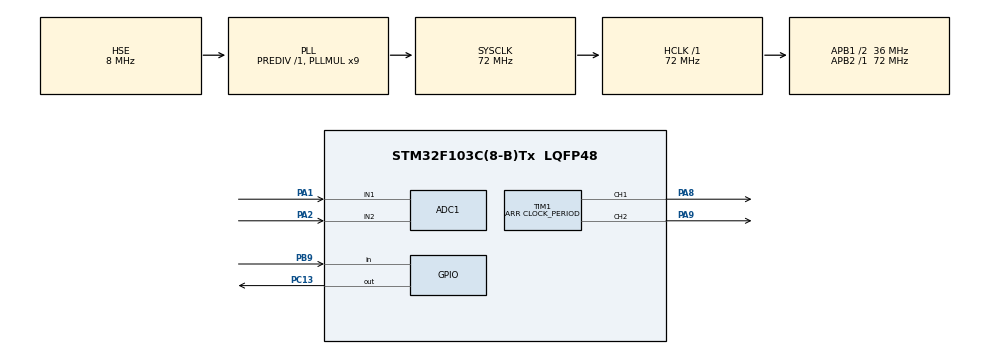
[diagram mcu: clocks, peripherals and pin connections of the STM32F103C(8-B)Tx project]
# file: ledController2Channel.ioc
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ADC1.Channel-4\#ChannelRegularConversion=ADC_CHANNEL_1
ADC1.Channel-6\#ChannelRegularConversion=ADC_CHANNEL_2
ADC1.ContinuousConvMode=ENABLE
ADC1.EnableInjectedConversion=DISABLE
ADC1.ExternalTrigConv=ADC_SOFTWARE_START
ADC1.NbrOfConversion=2
ADC1.NbrOfConversionFlag=1
ADC1.Rank-4\#ChannelRegularConversion=1
ADC1.Rank-6\#ChannelRegularConversion=2
ADC1.SamplingTime-4\#ChannelRegularConversion=ADC_SAMPLETIME_55CYCLES_5
ADC1.SamplingTime-6\#ChannelRegularConversion=ADC_SAMPLETIME_55CYCLES_5
ADC1.master=1
Dma.ADC1.0.Direction=DMA_PERIPH_TO_MEMORY
Dma.ADC1.0.Instance=DMA1_Channel1
Dma.ADC1.0.MemDataAlignment=DMA_MDATAALIGN_WORD
Dma.ADC1.0.MemInc=DMA_MINC_ENABLE
Dma.ADC1.0.Mode=DMA_CIRCULAR
Dma.ADC1.0.PeriphDataAlignment=DMA_PDATAALIGN_WORD
Dma.ADC1.0.PeriphInc=DMA_PINC_DISABLE
Dma.ADC1.0.Priority=DMA_PRIORITY_LOW
Dma.Request0=ADC1
Mcu.Family=STM32F1
Mcu.Name=STM32F103C(8-B)Tx
Mcu.Package=LQFP48
Mcu.UserConstants=CLOCK_PERIOD,1200
NVIC.DMA1_Channel1_IRQn=true\:0\:0\:false\:false\:true\:false\:true\:true
NVIC.PriorityGroup=NVIC_PRIORITYGROUP_4
PA1.Signal=SharedAnalog_PA1
PA2.Signal=ADCx_IN2
PA8.Signal=S_TIM1_CH1
PA9.Signal=S_TIM1_CH2
PB9.GPIO_PuPd=GPIO_PULLUP
PB9.Signal=GPIO_Input
PC13-TAMPER-RTC.Signal=GPIO_Output
PD0-OSC_IN.Mode=HSE-External-Oscillator
PD0-OSC_IN.Signal=RCC_OSC_IN
PD1-OSC_OUT.Mode=HSE-External-Oscillator
PD1-OSC_OUT.Signal=RCC_OSC_OUT
ProjectManager.HeapSize=0x200
ProjectManager.StackSize=0x400
ProjectManager.TargetToolchain=STM32CubeIDE
RCC.ADCPresc=RCC_ADCPCLK2_DIV8
RCC.AHBFreq_Value=72000000
RCC.APB1CLKDivider=RCC_HCLK_DIV2
RCC.APB1Freq_Value=36000000
RCC.APB1TimFreq_Value=72000000
RCC.APB2Freq_Value=72000000
RCC.APB2TimFreq_Value=72000000
RCC.HCLKFreq_Value=72000000
RCC.PLLMUL=RCC_PLL_MUL9
RCC.PLLSourceVirtual=RCC_PLLSOURCE_HSE
RCC.SYSCLKFreq_VALUE=72000000
RCC.SYSCLKSource=RCC_SYSCLKSOURCE_PLLCLK
RCC.USBFreq_Value=72000000
SH.ADCx_IN2.0=ADC1_IN2,IN2
SH.S_TIM1_CH1.0=TIM1_CH1,PWM Generation1 CH1
SH.S_TIM1_CH2.0=TIM1_CH2,PWM Generation2 CH2
SH.SharedAnalog_PA1.0=GPIO_Analog
SH.SharedAnalog_PA1.1=ADC2_IN1
SH.SharedAnalog_PA1.2=ADC1_IN1,IN1
TIM1.AutoReloadPreload=TIM_AUTORELOAD_PRELOAD_ENABLE
TIM1.Channel-PWM\ Generation1\ CH1=TIM_CHANNEL_1
TIM1.Channel-PWM\ Generation2\ CH2=TIM_CHANNEL_2
TIM1.CounterMode=TIM_COUNTERMODE_CENTERALIGNED1
TIM1.OCMode_PWM-PWM\ Generation2\ CH2=TIM_OCMODE_PWM1
TIM1.OCPolarity_1=TIM_OCPOLARITY_LOW
TIM1.Period=CLOCK_PERIOD
TIM1.Pulse-PWM\ Generation1\ CH1=0
VP_TIM1_VS_ClockSourceINT.Mode=Internal
board=custom

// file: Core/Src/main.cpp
/* USER CODE BEGIN Header */
/**
  ******************************************************************************
  * @file           : main.c
  * @brief          : Main program body
  ******************************************************************************
  * @attention
  *
  * Copyright (c) 2024 STMicroelectronics.
  * All rights reserved.
  *
  * This software is licensed under terms that can be found in the LICENSE file
  * in the root directory of this software component.
  * If no LICENSE file comes with this software, it is provided AS-IS.
  *
  ******************************************************************************
  */
/* USER CODE END Header */
#include "main.h"

ADC_HandleTypeDef hadc1;
DMA_HandleTypeDef hdma_adc1;

TIM_HandleTypeDef htim1;

void SystemClock_Config(void);
static void MX_GPIO_Init(void);
static void MX_DMA_Init(void);
static void MX_TIM1_Init(void);
static void MX_ADC1_Init(void);

/* USER CODE BEGIN 0 */
// This is usually set up by the CubeMX tool in stm32f1xx_it.c and stm32f1xx_it.h

/* USER CODE END 0 */

int main(void)
{

  /* MCU Configuration--------------------------------------------------------*/

  /* Reset of all peripherals, Initializes the Flash interface and the Systick. */
  HAL_Init();

  /* USER CODE BEGIN Init */
  //int32_t CH1_DC = 0;

  /* USER CODE END Init */

  /* Configure the system clock */
  SystemClock_Config();

  /* Initialize all configured peripherals */
  MX_GPIO_Init();
  MX_DMA_Init();
  MX_TIM1_Init();
  MX_ADC1_Init();
  /* USER CODE BEGIN 2 */
  // Start timer 1 for PWM control of boost converters
  HAL_TIM_PWM_Start(&htim1, TIM_CHANNEL_1);
  HAL_TIM_PWM_Start(&htim1, TIM_CHANNEL_2);

  // Start ADC to read 2 pots to control brightness and CCT of light engine
  uint32_t adcValues[2] = {0,0};
  HAL_ADCEx_Calibration_Start(&hadc1);
  HAL_ADC_Start_DMA(&hadc1, adcValues, 2);

  // Low Pass Filter for Flicker Removal
#define LPF_FILTER_LENGTH 32
  uint32_t channelOnePwmFilter[LPF_FILTER_LENGTH] = {0};
  uint32_t channelTwoPwmFilter[LPF_FILTER_LENGTH] = {0};
  uint32_t channelOnePwmPtr = 0;
  uint32_t channelTwoPwmPtr = 0;

  // Switch button to turn system on and off
  uint32_t btnState = 0x01;
#define DEBOUNCE_COUNT 300
  uint32_t debounce = 0;
  uint32_t debounceCount = DEBOUNCE_COUNT;

  /* USER CODE END 2 */

  /* Infinite loop */
  /* USER CODE BEGIN WHILE */

  while (1){
	  // Check for btn press
	  if (HAL_GPIO_ReadPin(GPIOB, GPIO_PIN_9) == GPIO_PIN_RESET && debounce == 0){
		  btnState ^= 0x01;
		  debounce = 0x01;
		  debounceCount--;
		  HAL_GPIO_TogglePin(GPIOC, GPIO_PIN_13);
	  }
	  // Debounce btn press
	  if (debounceCount < DEBOUNCE_COUNT){
		  debounceCount--;
	  }
	  if (debounceCount == 0){
		  debounceCount = DEBOUNCE_COUNT;
		  debounce = 0x00;
	  }

	  // Check system state
	  if (btnState == 0x01){
		  // System is on
		  // Read from ADC
		  uint32_t avgIndex = ((4095 - adcValues[0]) * 511) / 4095;
		  int32_t indexSpread = ((4095 - adcValues[1]) * 511) / 4095 - 512/2;

		  // Compute CCT mapping and get indices for ln() LUT
		  int32_t idx1 = avgIndex + indexSpread;
		  int32_t idx2 = avgIndex - indexSpread;

		  // Bound Check
		  if(idx1 < 0){
			  idx1 = 0;
			  HAL_GPIO_TogglePin(GPIOC, GPIO_PIN_13);
		  } else if(idx1 > 511){
			  idx1 = 511;
			  HAL_GPIO_TogglePin(GPIOC, GPIO_PIN_13);
		  }
		  if(idx2 < 0){
			  idx2 = 0;
			  HAL_GPIO_TogglePin(GPIOC, GPIO_PIN_13);
		  } else if(idx2 > 511){
			  idx2 = 511;
			  HAL_GPIO_TogglePin(GPIOC, GPIO_PIN_13);
		  }

		  // Update PWM Filter Bank
		  channelTwoPwmFilter[channelTwoPwmPtr++] = (uint32_t)(0.25*CLOCK_PERIOD*y[idx2]*spreadRollOff[avgIndex]);
		  channelOnePwmFilter[channelOnePwmPtr++] = CLOCK_PERIOD - (uint32_t)(0.25*CLOCK_PERIOD*y[idx1]*spreadRollOff[avgIndex]);
	  } else {
		  // System is off
		  channelTwoPwmFilter[channelTwoPwmPtr++] = 0;
		  channelOnePwmFilter[channelOnePwmPtr++] = CLOCK_PERIOD - 0;
	  }

	  // Bounds check the array indices
	  if(channelOnePwmPtr >= LPF_FILTER_LENGTH){
		  channelOnePwmPtr = 0;
	  }
	  if(channelTwoPwmPtr >= LPF_FILTER_LENGTH){
	  		  channelTwoPwmPtr = 0;
	  }

	  // Temp variables to hold the avgs
	  uint32_t channelOneAvg = 0;
	  uint32_t channelTwoAvg = 0;

	  // Compute moving avg of array
	  for(uint32_t k = 0; k < LPF_FILTER_LENGTH; k++){
		  channelOneAvg += channelOnePwmFilter[k];
		  channelTwoAvg += channelTwoPwmFilter[k];
	  }

	  // Set PWM in registers
	  TIM1->CCR1 = channelOneAvg / LPF_FILTER_LENGTH;
	  TIM1->CCR2 = channelTwoAvg / LPF_FILTER_LENGTH;

	  // Just some delay because I feel like it
	  HAL_Delay(1);

    /* USER CODE END WHILE */

  }
}

void SystemClock_Config(void)
{
  RCC_OscInitTypeDef RCC_OscInitStruct = {0};
  RCC_ClkInitTypeDef RCC_ClkInitStruct = {0};
  RCC_PeriphCLKInitTypeDef PeriphClkInit = {0};

  /** Initializes the RCC Oscillators according to the specified parameters
  * in the RCC_OscInitTypeDef structure.
  */
  RCC_OscInitStruct.OscillatorType = RCC_OSCILLATORTYPE_HSE;
  RCC_OscInitStruct.HSEState = RCC_HSE_ON;
  RCC_OscInitStruct.HSEPredivValue = RCC_HSE_PREDIV_DIV1;
  RCC_OscInitStruct.HSIState = RCC_HSI_ON;
  RCC_OscInitStruct.PLL.PLLState = RCC_PLL_ON;
  RCC_OscInitStruct.PLL.PLLSource = RCC_PLLSOURCE_HSE;
  RCC_OscInitStruct.PLL.PLLMUL = RCC_PLL_MUL9;
  if (HAL_RCC_OscConfig(&RCC_OscInitStruct) != HAL_OK)
  {
    Error_Handler();
  }

  /** Initializes the CPU, AHB and APB buses clocks
  */
  RCC_ClkInitStruct.ClockType = RCC_CLOCKTYPE_HCLK|RCC_CLOCKTYPE_SYSCLK
                              |RCC_CLOCKTYPE_PCLK1|RCC_CLOCKTYPE_PCLK2;
  RCC_ClkInitStruct.SYSCLKSource = RCC_SYSCLKSOURCE_PLLCLK;
  RCC_ClkInitStruct.AHBCLKDivider = RCC_SYSCLK_DIV1;
  RCC_ClkInitStruct.APB1CLKDivider = RCC_HCLK_DIV2;
  RCC_ClkInitStruct.APB2CLKDivider = RCC_HCLK_DIV1;

  if (HAL_RCC_ClockConfig(&RCC_ClkInitStruct, FLASH_LATENCY_2) != HAL_OK)
  {
    Error_Handler();
  }
  PeriphClkInit.PeriphClockSelection = RCC_PERIPHCLK_ADC;
  PeriphClkInit.AdcClockSelection = RCC_ADCPCLK2_DIV8;
  if (HAL_RCCEx_PeriphCLKConfig(&PeriphClkInit) != HAL_OK)
  {
    Error_Handler();
  }
}

static void MX_ADC1_Init(void)
{

  ADC_ChannelConfTypeDef sConfig = {0};

  /** Common config
  */
  hadc1.Instance = ADC1;
  hadc1.Init.ScanConvMode = ADC_SCAN_ENABLE;
  hadc1.Init.ContinuousConvMode = ENABLE;
  hadc1.Init.DiscontinuousConvMode = DISABLE;
  hadc1.Init.ExternalTrigConv = ADC_SOFTWARE_START;
  hadc1.Init.DataAlign = ADC_DATAALIGN_RIGHT;
  hadc1.Init.NbrOfConversion = 2;
  if (HAL_ADC_Init(&hadc1) != HAL_OK)
  {
    Error_Handler();
  }

  /** Configure Regular Channel
  */
  sConfig.Channel = ADC_CHANNEL_1;
  sConfig.Rank = ADC_REGULAR_RANK_1;
  sConfig.SamplingTime = ADC_SAMPLETIME_55CYCLES_5;
  if (HAL_ADC_ConfigChannel(&hadc1, &sConfig) != HAL_OK)
  {
    Error_Handler();
  }

  /** Configure Regular Channel
  */
  sConfig.Channel = ADC_CHANNEL_2;
  sConfig.Rank = ADC_REGULAR_RANK_2;
  if (HAL_ADC_ConfigChannel(&hadc1, &sConfig) != HAL_OK)
  {
    Error_Handler();
  }

}

static void MX_TIM1_Init(void)
{

  TIM_ClockConfigTypeDef sClockSourceConfig = {0};
  TIM_MasterConfigTypeDef sMasterConfig = {0};
  TIM_OC_InitTypeDef sConfigOC = {0};
  TIM_BreakDeadTimeConfigTypeDef sBreakDeadTimeConfig = {0};

  htim1.Instance = TIM1;
  htim1.Init.Prescaler = 0;
  htim1.Init.CounterMode = TIM_COUNTERMODE_CENTERALIGNED1;
  htim1.Init.Period = CLOCK_PERIOD;
  htim1.Init.ClockDivision = TIM_CLOCKDIVISION_DIV1;
  htim1.Init.RepetitionCounter = 0;
  htim1.Init.AutoReloadPreload = TIM_AUTORELOAD_PRELOAD_ENABLE;
  if (HAL_TIM_Base_Init(&htim1) != HAL_OK)
  {
    Error_Handler();
  }
  sClockSourceConfig.ClockSource = TIM_CLOCKSOURCE_INTERNAL;
  if (HAL_TIM_ConfigClockSource(&htim1, &sClockSourceConfig) != HAL_OK)
  {
    Error_Handler();
  }
  if (HAL_TIM_PWM_Init(&htim1) != HAL_OK)
  {
    Error_Handler();
  }
  sMasterConfig.MasterOutputTrigger = TIM_TRGO_RESET;
  sMasterConfig.MasterSlaveMode = TIM_MASTERSLAVEMODE_DISABLE;
  if (HAL_TIMEx_MasterConfigSynchronization(&htim1, &sMasterConfig) != HAL_OK)
  {
    Error_Handler();
  }
  sConfigOC.OCMode = TIM_OCMODE_PWM1;
  sConfigOC.Pulse = 0;
  sConfigOC.OCPolarity = TIM_OCPOLARITY_LOW;
  sConfigOC.OCNPolarity = TIM_OCNPOLARITY_HIGH;
  sConfigOC.OCFastMode = TIM_OCFAST_DISABLE;
  sConfigOC.OCIdleState = TIM_OCIDLESTATE_RESET;
  sConfigOC.OCNIdleState = TIM_OCNIDLESTATE_RESET;
  if (HAL_TIM_PWM_ConfigChannel(&htim1, &sConfigOC, TIM_CHANNEL_1) != HAL_OK)
  {
    Error_Handler();
  }
  sConfigOC.OCPolarity = TIM_OCPOLARITY_HIGH;
  if (HAL_TIM_PWM_ConfigChannel(&htim1, &sConfigOC, TIM_CHANNEL_2) != HAL_OK)
  {
    Error_Handler();
  }
  sBreakDeadTimeConfig.OffStateRunMode = TIM_OSSR_DISABLE;
  sBreakDeadTimeConfig.OffStateIDLEMode = TIM_OSSI_DISABLE;
  sBreakDeadTimeConfig.LockLevel = TIM_LOCKLEVEL_OFF;
  sBreakDeadTimeConfig.DeadTime = 0;
  sBreakDeadTimeConfig.BreakState = TIM_BREAK_DISABLE;
  sBreakDeadTimeConfig.BreakPolarity = TIM_BREAKPOLARITY_HIGH;
  sBreakDeadTimeConfig.AutomaticOutput = TIM_AUTOMATICOUTPUT_DISABLE;
  if (HAL_TIMEx_ConfigBreakDeadTime(&htim1, &sBreakDeadTimeConfig) != HAL_OK)
  {
    Error_Handler();
  }
  HAL_TIM_MspPostInit(&htim1);

}

static void MX_DMA_Init(void)
{

  /* DMA controller clock enable */
  __HAL_RCC_DMA1_CLK_ENABLE();

  /* DMA interrupt init */
  /* DMA1_Channel1_IRQn interrupt configuration */
  HAL_NVIC_SetPriority(DMA1_Channel1_IRQn, 0, 0);
  HAL_NVIC_EnableIRQ(DMA1_Channel1_IRQn);

}

static void MX_GPIO_Init(void)
{
  GPIO_InitTypeDef GPIO_InitStruct = {0};

  /* GPIO Ports Clock Enable */
  __HAL_RCC_GPIOC_CLK_ENABLE();
  __HAL_RCC_GPIOD_CLK_ENABLE();
  __HAL_RCC_GPIOA_CLK_ENABLE();
  __HAL_RCC_GPIOB_CLK_ENABLE();

  /*Configure GPIO pin Output Level */
  HAL_GPIO_WritePin(GPIOC, GPIO_PIN_13, GPIO_PIN_RESET);

  /*Configure GPIO pin : PC13 */
  GPIO_InitStruct.Pin = GPIO_PIN_13;
  GPIO_InitStruct.Mode = GPIO_MODE_OUTPUT_PP;
  GPIO_InitStruct.Pull = GPIO_NOPULL;
  GPIO_InitStruct.Speed = GPIO_SPEED_FREQ_LOW;
  HAL_GPIO_Init(GPIOC, &GPIO_InitStruct);

  /*Configure GPIO pin : PA1 */
  GPIO_InitStruct.Pin = GPIO_PIN_1;
  GPIO_InitStruct.Mode = GPIO_MODE_ANALOG;
  HAL_GPIO_Init(GPIOA, &GPIO_InitStruct);

  /*Configure GPIO pin : PB9 */
  GPIO_InitStruct.Pin = GPIO_PIN_9;
  GPIO_InitStruct.Mode = GPIO_MODE_INPUT;
  GPIO_InitStruct.Pull = GPIO_PULLUP;
  HAL_GPIO_Init(GPIOB, &GPIO_InitStruct);

}

void Error_Handler(void)
{
  __disable_irq();
  while (1)
  {
  }
}
